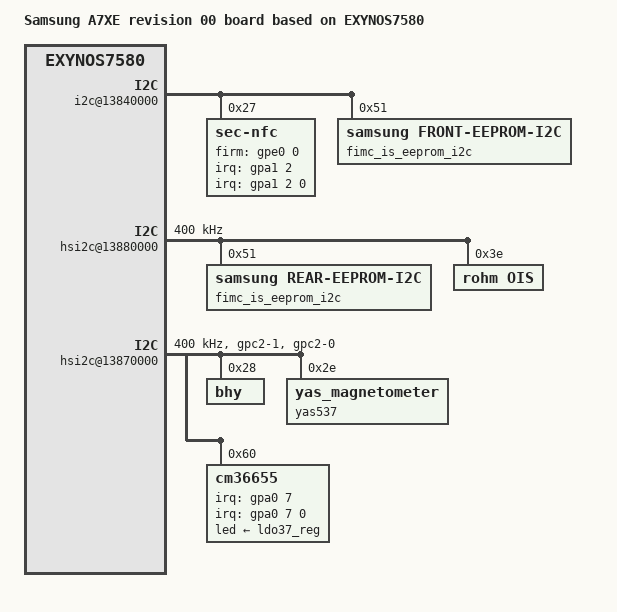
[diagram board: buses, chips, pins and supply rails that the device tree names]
/*
 * SAMSUNG A7XE board device tree source
 *
 * Copyright (c) 2014 Samsung Electronics Co., Ltd.
 *		http://www.samsung.com
 *
 * This program is free software; you can redistribute it and/or modify
 * it under the terms of the GNU General Public License version 2 as
 * published by the Free Software Foundation.
 */

/dts-v1/;
#include "exynos7580-reserve-3000MB-Ax.dtsi"
#include "exynos7580-a7xelte_common.dtsi"
#include "modem-carmen2-reserve-3000MB.dtsi"
#include "exynos7580-a7xelte_battery_00.dtsi"
#include "exynos7580-a7xelte_eur_open_gpio_00.dtsi"
#include "exynos7580-a7xelte_fingerprint-sensor_00.dtsi"
#include "exynos7580-a7xelte_mst_00.dtsi"

/ {
	model = "Samsung A7XE revision 00 board based on EXYNOS7580";
	model_info-chip = <7580>;
	model_info-platform = "android";
	model_info-subtype = "samsung";
	model_info-hw_rev = <0>;
	model_info-hw_rev_end = <0>;
	compatible = "samsung,exynos7580-universal7580,r01", "samsung,exynos7580";

	pinctrl@139B0000 {
		pmic_irq: pmic-irq {
			samsung,pins = "gpa0-2";
			samsung,pin-pud = <3>;
			samsung,pin-drv = <3>;
		};
		cod3022_irq: cod3022-irq {
			samsung,pins = "gpa0-4";
			samsung,pin-pud = <3>;
			samsung,pin-drv = <3>;
		};
		if_irq: if-irq {
			samsung,pins = "gpa0-5";
			samsung,pin-pud = <3>;
			samsung,pin-drv = <3>;
		};
		ps_als: ps_als {
			samsung,pins = "gpa0-7";
			samsung,pin-function = <0x0>;
			samsung,pin-pud = <0>;
			samsung,pin-drv = <0>;
		};
		attn_irq: attn-irq {
			samsung,pins = "gpa1-1";
			samsung,pin-function = <0xf>;
			samsung,pin-pud = <3>;
			samsung,pin-drv = <0>;
		};
		muic_irq: muic-irq {
			samsung,pins = "gpa1-3";
			samsung,pin-pud = <0>;
			samsung,pin-drv = <0>;
		};
		bhy_int: bhy-int {
			samsung,pins = "gpa3-0";
			samsung,pin-function = <0>;
			samsung,pin-pud = <1>;
			samsung,pin-drv = <0>;
		};
		dwmmc2_cd_ext_irq: dwmmc2_cd_ext_irq {
			samsung,pins = "gpa3-1";
			samsung,pin-function = <0xf>;
			samsung,pin-pud = <0>;
			samsung,pin-drv = <0>;
		};
		gpiodetect_irq: gpiodetect-irq {
			samsung,pins = "gpa3-4";
			samsung,pin-function = <0>;
			samsung,pin-pud = <0>;
			samsung,pin-drv = <0>;
		};
		certify_hall_irq: certify-hall-irq {
			samsung,pins = "gpa3-5";
			samsung,pin-function = <0xf>;
			samsung,pin-pud = <0>;
			samsung,pin-drv = <0>;
		};
		hall_irq: hall_irq {
			samsung,pins = "gpa3-6";
			samsung,pin-function = <0xf>;
			samsung,pin-pud = <0>;
			samsung,pin-drv = <0>;
		};
	};

	pinctrl@139C0000 {
		optical: optical {
			samsung,pins = "gpd3-1", "gpd3-2";
			samsung,pin-function = <0>;
			samsung,pin-pud = <0>;
			samsung,pin-drv = <0>;
		};
		sensor_i2c: sensor_i2c {
			samsung,pins = "gpc2-1", "gpc2-0";
			samsung,pin-function = <2>;
			samsung,pin-pud = <0>;
		};
		main_mic_bias_en:main-mic-bias-en {
			samsung,pins ="gpd2-7";
			samsung,pin-function = <1>;
			samsung,pin-pud = <0>;
			samsung,pin-con-pdn = <3>;
			samsung,pin-pud-pdn = <0>;
			samsung,pin-val = <0>;
		};
		/* Warm reset information from AP */
		pm_wrsti: pm-wrsti {
			samsung,pins = "gpe1-0";
			samsung,pin-con-pdn = <3>;
		};
		dbmd_reset: dbmd-reset {
			samsung,pins ="gpf1-6";
			samsung,pin-function = <1>;
			samsung,pin-pud = <1>;
			samsung,pin-con-pdn =<3>;
			samsung,pin-pud-pdn = <1>;
			samsung,pin-val = <0>;
		};
		dbmd_wakeup: dbmd-wakeup {
			samsung,pins ="gpf1-7";
			samsung,pin-function = <1>;
			samsung,pin-pud = <1>;
			samsung,pin-con-pdn =<3>;
			samsung,pin-pud-pdn = <1>;
			samsung,pin-val = <0>;
		};
	};

	i2c@13840000 {
		status = "okay";
		samsung,i2c-sda-delay = <100>;
		samsung,i2c-max-bus-freq = <300000>;
		sec-nfc@27 {
			compatible = "sec-nfc";
			reg = <0x27>;
			interrupts = <2 0 0>;
			interrupt-parent = <&gpa1>;
			sec-nfc,nfc_pd = <&gpc3 2 0x2>;
			sec-nfc,firm-gpio = <&gpe0 0 0>;
			sec-nfc,irq-gpio = <&gpa1 2 0>;
			clkctrl-reg = <0x1046600C>;
			sec-nfc,nfc_clkreq = <&gpc3 3 0x2>;
			sec-nfc,i2c_1p8 = "ldo39";
			pinctrl-names = "default";
			pinctrl-0 = <&nfc_n5_firm &nfc_n5_clk_req &nfc_pd &nfc_int &ese_pwr_en>;
		};
	};

	i2c@13840000 {
		status = "okay";
		samsung,i2c-sda-delay = <100>;
		samsung,i2c-max-bus-freq = <400000>;

		fimc_is_eeprom_i2c@51{
			compatible = "samsung,front-eeprom-i2c";
			reg = <0x51>;
			/*use_i2c_pinctrl;*/ /* Not used it on old HW because of shared hw i2c with NFC*/
			fimc_is_front_eeprom_pinname = "139c0000.pinctrl"; /* it must be lowercase letters */
			fimc_is_front_eeprom_sda = "gpc5-2";
			fimc_is_front_eeprom_scl = "gpc5-3";
			pinfunc_on = <2>;
			pinfunc_off = <0>;
		};
	};

	hsi2c@13880000 {
		status = "okay";
		clock-frequency = <400000>;
		/delete-node/ fimc_is_eeprom_i2c@51;
		/delete-node/ fimc_is_eeprom_i2c@50;

		fimc_is_eeprom_i2c@51 {
			compatible = "samsung,rear-eeprom-i2c";
			reg = <0x51>;
			fimc_is_rear_eeprom_pinname = "139c0000.pinctrl"; /* it must be lowercase letters */
			fimc_is_rear_eeprom_sda = "gpc2-2";
			fimc_is_rear_eeprom_scl = "gpc2-3";
			pinfunc_on = <2>;
			pinfunc_off = <0>;
		};

		ois@3E{
			compatible = "rohm,ois";
			reg = <0x3E>;
			use_reload_ois_fw; /* download ois firmware everytime */
			fimc_is_ois_pinname = "139c0000.pinctrl"; /* it must be lowercase letters */
			fimc_is_ois_sda = "gpc2-2";
			fimc_is_ois_scl = "gpc2-3";
			fimc_is_ois_reset = "gpe0-5";
			pinfunc_on = <2>;
			pinfunc_off = <0>;
		};
	};

	hsi2c@13870000 {
		status = "okay";
		/*samsung,hs-mode;*/
		clock-frequency = <400000>;
		#address-cells = <1>;
		#size-cells = <0>;
		pinctrl-names = "default";
		pinctrl-0 = <&sensor_i2c>;

		bhy@28 {
			compatible = "bhy";
			pinctrl-names = "default";
			pinctrl-0 = <&bhy_int>;
			bhy,gpio_irq = <&gpa3 0 0x00>;
			reg = <0x28>;
		};

		yas537@2e {
			compatible = "yas_magnetometer";
			reg = <0x2e>;
			yas,orientation = <7>;
			yas,softiron = <10000 0 0 0 10000 0 0 0 10000>;
			yas,softiron_sign = <2 2 0 0 2 0 0 0 2>;
		};
		cm36655@60 {
			compatible = "cm36655";
			reg = <0x60>;
			pinctrl-names = "dafault";
			pinctrl-0 = <&ps_als &leden_gpio>;
			interrupt-parent = <&gpa0>;
			interrupts = <7 0 0>;
			cm36655,led-supply = <&ldo37_reg>;
			cm36655,irq_gpio = <&gpa0 7 0x00>;
			cm36655,default_hi_thd = <18>;
			cm36655,default_low_thd = <13>;
			cm36655,cancel_hi_thd = <10>;
			cm36655,cancel_low_thd = <7>;
			cm36655,trim = <0x0003>;
		};
	};

	pinctrl@139B0000 {
		bt_enable: bt_enable {
			 samsung,pins = "gpa1-6";
			 samsung,pin-function = <1>;
			 samsung,pin-pud = <0>;
		};
	};

	pinctrl@139C0000 {
		uart0_rts: uart0-rts {
			samsung,pins = "gpb0-7";
			samsung,pin-function = <2>;
			samsung,pin-pud = <1>;
			samsung,pin-con-pdn = <3>;
			samsung,pin-pud-pdn = <1>;
		};

		uart0_cts: uart0-cts {
			samsung,pins = "gpb0-6";
			samsung,pin-function = <2>;
			samsung,pin-pud = <1>;
			samsung,pin-con-pdn = <3>;
			samsung,pin-pud-pdn = <1>;
		};

		uart0_tx: uart0-tx {
			samsung,pins = "gpb0-5";
			samsung,pin-function = <2>;
			samsung,pin-pud = <3>;
			samsung,pin-con-pdn = <3>;
			samsung,pin-pud-pdn = <3>;
		};

		uart0_rx: uart0-rx {
			samsung,pins = "gpb0-4";
			samsung,pin-function = <2>;
			samsung,pin-pud = <3>;
			samsung,pin-con-pdn = <3>;
			samsung,pin-pud-pdn = <3>;
		};
	};

	mif_pdata {
		pinctrl-names = "default";
		pinctrl-0 = <&cp_rst_n &ds_det>;

		/* To do: will be remove, for system revision */
		gpios = <&gpd0 0 0x0>,
		       <&gpd0 1 0x0>,
		       <&gpd0 2 0x0>,
		       <&gpd0 3 0x0>;

		modem_ctrl,gpio_cp_rst_n = <&gpe0 6 0x1>;
		mif,gpio_ds_det = <&gpd0 4 0x0>;

		mif,ap_clk_table = <
			/* khz */
			1600000
			1500000
			1400000
			1300000
			1200000
			1100000
			1000000
			900000
			800000
			700000
			600000
			500000
			400000
			300000
			>;

		mif,mif_clk_table = <
			/* khz */
			825000
			728000
			667000
			559000
			416000
			338000
			273000
			200000
			>;
	};

	pinctrl@139C0000 {
		ds_det: ds_det {
			samsung,pins = "gpd0-4";
			samsung,pin-function = <0>;	/* INPUT */
			samsung,pin-pud = <0>;
			samsung,pin-con-pdn = <3>;	/* PREV STATE */
			samsung,pin-pud-pdn = <0>;
		};

		cp_rst_n: cp_rst_n {
			samsung,pins = "gpe0-6";
			samsung,pin-function = <1>;	/* OUTPUT */
			samsung,pin-pud = <0>;		/* PU & PD DISABLE */
			samsung,pin-con-pdn = <1>;	/* OUTPUT 1 */
			samsung,pin-pud-pdn = <0>;	/* PU & PD DISABLE */
		};

		leden_gpio: leden_gpio {
			samsung,pins = "gpd2-3";
			samsung,pin-function = <1>;
			samsung,pin-pud = <0>;
			samsung,pin-val = <1>;
		};
	};
};
